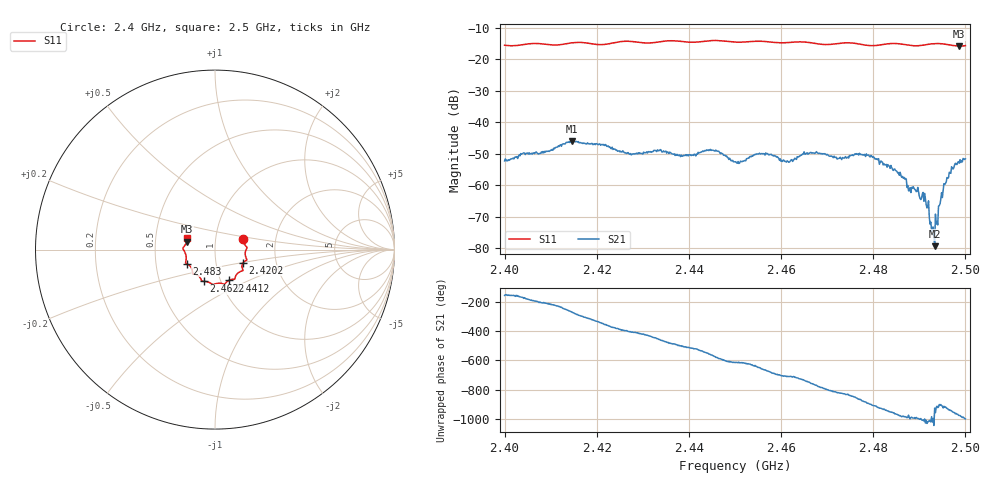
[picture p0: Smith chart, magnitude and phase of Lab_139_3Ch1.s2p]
# Hz S RI R 50
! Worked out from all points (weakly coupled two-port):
!   601 points, 2.4 GHz to 2.5 GHz, reference 50 ohm
!   highest |S21| = -46.00 dB at 2.4147 GHz (marker M1); lowest = -79.3 dB at 2.4933 GHz (marker M2)
!   lowest |S11| = -15.8 dB at 2.4987 GHz (marker M3), VSWR 1.39, Z = 36.3 + j3.3 ohm
!   |S11| at or under -10 dB: start of sweep to end of sweep
!   S12 and S22 are empty: the file has one direction only
!   S11 on the Smith chart (normalised r, x): 2.4 GHz: 1.36, +0.17; 2.4202 GHz: 1.35, -0.20; 2.4412 GHz: 1.09, -0.39; 2.4622 GHz: 0.83, -0.30; 2.483 GHz: 0.72, -0.12; 2.5 GHz: 0.73, +0.09
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2.4e9  0.1571 0.0601  -0.00225 -0.000986  0 0  0 0
2.414667e9  0.1764 -0.0529  0.000146 0.00501  0 0  0 0
2.416667e9  0.177 -0.0587  0.00218 0.00416  0 0  0 0
2.420167e9  0.1567 -0.0724  0.00407 0.00191  0 0  0 0
2.4275e9  0.1534 -0.1176  0.00206 -0.00225  0 0  0 0
2.433333e9  0.1131 -0.1517  -0.000275 -0.00353  0 0  0 0
2.441167e9  0.0757 -0.172  -0.00294 -0.00108  0 0  0 0
2.4455e9  0.0524 -0.1933  -0.003 0.00191  0 0  0 0
2.45e9  0.0269 -0.1871  -0.000693 0.00226  0 0  0 0
2.455667e9  -0.0133 -0.1943  0.00139 0.00285  0 0  0 0
2.462167e9  -0.0625 -0.1768  0.00249 0.000489  0 0  0 0
2.466667e9  -0.0775 -0.1665  0.00257 -0.00197  0 0  0 0
2.4785e9  -0.1286 -0.1086  -0.00307 -0.000754  0 0  0 0
2.483e9  -0.1586 -0.078  -0.00141 0.00133  0 0  0 0
2.483333e9  -0.1602 -0.0773  -0.00138 0.00152  0 0  0 0
2.491e9  -0.1691 -0.0117  0.000213 0.000517  0 0  0 0
2.491667e9  -0.1725 -0.006  0.000277 0.00034  0 0  0 0
2.492833e9  -0.1774 0.00223  0.000105 0.000189  0 0  0 0
2.493333e9  -0.1787 0.00427  -9.85e-05 4.47e-05  0 0  0 0
2.495667e9  -0.1742 0.015  -0.00102 0.000302  0 0  0 0
2.498667e9  -0.1569 0.0443  -0.000591 0.00217  0 0  0 0
2.5e9  -0.1538 0.0622  0.00036 0.00261  0 0  0 0
